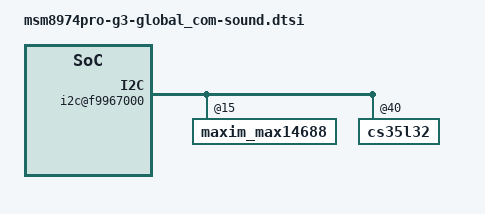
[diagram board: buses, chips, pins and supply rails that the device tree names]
/* Copyright (c) 2012, Code Aurora Forum. All rights reserved.
 *
 * This program is free software; you can redistribute it and/or modify
 * it under the terms of the GNU General Public License version 2 and
 * only version 2 as published by the Free Software Foundation.
 *
 * This program is distributed in the hope that it will be useful,
 * but WITHOUT ANY WARRANTY; without even the implied warranty of
 * MERCHANTABILITY or FITNESS FOR A PARTICULAR PURPOSE.  See the
 * GNU General Public License for more details.
 */

&soc {
	maxim_detic:maxim_max1462x {
			status = "ok";
			revision = "evb1...evb2";
	};

	i2c@f9967000 {
		maxim_max14688@15 {
			status = "ok";
			revision = "rev_a...";
		};
		cs35l32@40 {
			status = "ok";
			revision = "rev_a...";
		};
	};

	tpa_amp:ti_tpa2015d1 {
		status = "ok";
		revision = "evb1...evb2";
	};
	};

